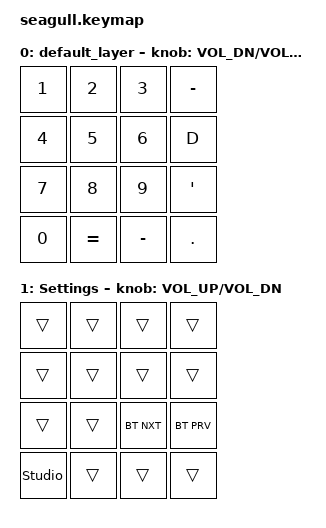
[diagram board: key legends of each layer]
#include <behaviors.dtsi>
#include <dt-bindings/zmk/bt.h>
#include <dt-bindings/zmk/keys.h>

/ {
    combos {
        compatible = "zmk,combos";

        Layer_1 {
            bindings = <&mo 1>;
            key-positions = <0 1>;
        };
    };

    keymap {
        compatible = "zmk,keymap";

        default_layer {
            bindings = <
&kp N1  &kp N2     &kp N3     &kp MINUS
&kp N4  &kp N5     &kp N6     &kp D
&kp N7  &kp N8     &kp N9     &kp APOS
&kp N0  &kp EQUAL  &kp MINUS  &kp DOT
            >;

            sensor-bindings = <&inc_dec_kp C_VOL_DN C_VOL_UP &inc_dec_kp PG_DN PG_UP>;
        };

        Settings {
            bindings = <
&trans          &trans  &trans      &trans
&trans          &trans  &trans      &trans
&trans          &trans  &bt BT_NXT  &bt BT_PRV
&studio_unlock  &trans  &trans      &trans
            >;

            sensor-bindings = <&inc_dec_kp C_VOLUME_UP C_VOL_DN>;
        };
    };
};
